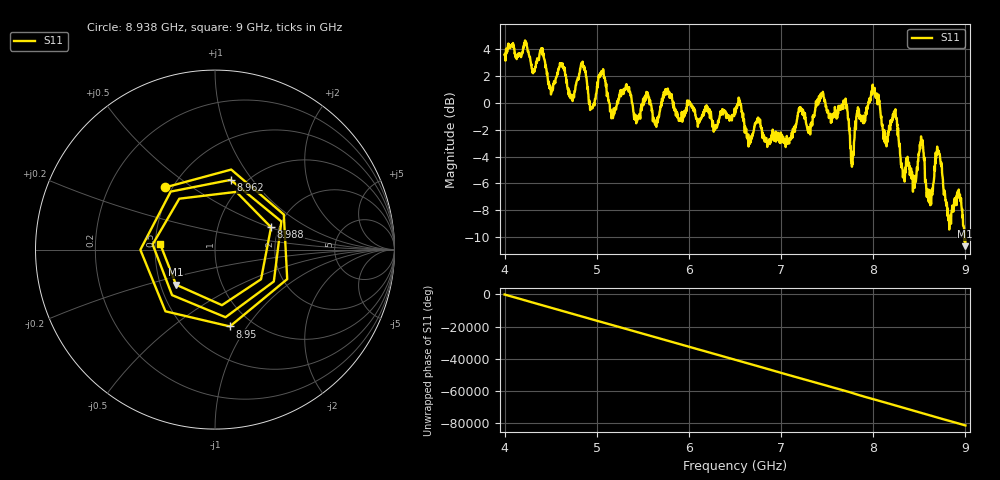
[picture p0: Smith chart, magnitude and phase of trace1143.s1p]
! Created with skrf 1.8.0 (http://scikit-rf.org).
# Hz S RI R 50.0
!freq ReS11 ImS11
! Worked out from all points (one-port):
!   1601 points, 4 GHz to 9 GHz, reference 50 ohm
!   lowest |S11| = -10.7 dB at 8.997 GHz (marker M1), VSWR 1.82, Z = 30.1 - j12.9 ohm
!   |S11| at or under -10 dB: 8.989895 GHz to end of sweep
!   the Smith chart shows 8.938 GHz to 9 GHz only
!   S11 on the Smith chart (normalised r, x): 8.938 GHz: 0.46, +0.39; 8.95 GHz: 0.79, -0.84; 8.962 GHz: 0.85, +0.79; 8.988 GHz: 1.82, +0.51; 9 GHz: 0.53, +0.04
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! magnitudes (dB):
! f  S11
! 4 GHz  3.6
! 4.403 GHz  4.0
! 4.503 GHz  0.6
! 4.625 GHz  2.7
! 4.728 GHz  0.4
! 4.844 GHz  2.9
! 4.941 GHz  -0.5
! 5.05 GHz  2.4
! 5.169 GHz  -1.0
! 5.25 GHz  0.7
! 5.875 GHz  -1.1
! 6.5 GHz  -0.8
! 7.125 GHz  -2.6
! 7.444 GHz  0.7
! 7.694 GHz  0.2
! 7.75 GHz  -3.2
! 8.006 GHz  0.7
! 8.375 GHz  -4.1
! 8.522 GHz  -2.9
! 8.606 GHz  -6.6
! 8.703 GHz  -3.7
! 8.819 GHz  -8.8
! 8.938 GHz  -7.0
! 8.95 GHz  -7.2
! 8.962 GHz  -8.0
! 8.988 GHz  -9.5
! 8.997 GHz  -10.7
! 9 GHz  -10.2
